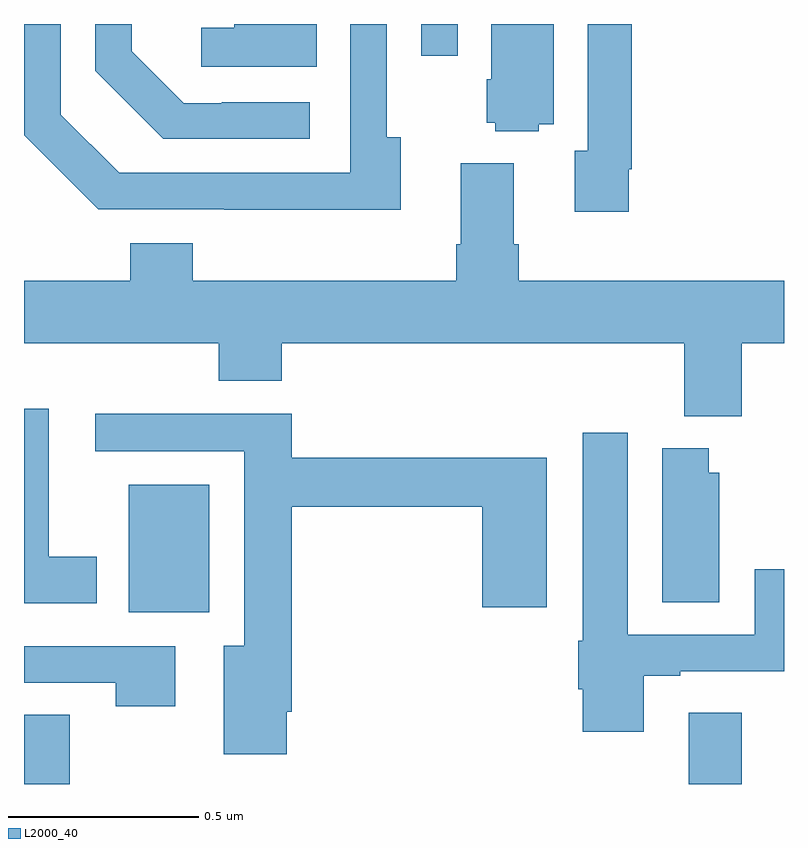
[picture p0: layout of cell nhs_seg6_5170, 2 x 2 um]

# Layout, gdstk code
import gdstk
lib = gdstk.Library(unit=1e-6, precision=1e-09)
def R(c, l, rs):  # rectangles x0, y0, x1, y1
    for r in rs: c.add(gdstk.rectangle(r[:2], r[2:], *l))
def P(c, l, *ps):  # polygons
    for p in ps: c.add(gdstk.Polygon(p, *l))
L2000_40 = (2000, 40)

nhs_seg6_5170 = lib.new_cell('nhs_seg6_5170')
R(nhs_seg6_5170, L2000_40, [(179,955.5,179.121,955.682), (180.749,955.5,180.889,955.687), (179.276,955.952,179.488,956.287), (180.045,957.417,180.141,957.5)])
P(nhs_seg6_5170, L2000_40, [(179.752,957.294),(179.521,957.294),(179.521,957.291),(179.421,957.291),(179.284,957.428),(179.284,957.5),(179.187,957.5),(179.187,957.377),(179.366,957.198),(179.752,957.198)],
  [(179.992,957.202),(179.955,957.202),(179.955,957.5),(179.859,957.5),(179.859,957.108),(179.25,957.108),(179.097,957.261),(179.097,957.5),(179,957.5),(179,957.239),(179.001,957.239),(179.001,957.207),(179.196,957.012),(179.527,957.012),(179.527,957.011),(179.992,957.011)],
  [(180.354,957.236),(180.394,957.236),(180.394,957.5),(180.23,957.5),(180.23,957.354),(180.218,957.354),(180.218,957.24),(180.24,957.24),(180.24,957.218),(180.354,957.218)],
  [(180.592,957.118),(180.599,957.118),(180.599,957.5),(180.483,957.5),(180.483,957.167),(180.449,957.167),(180.449,957.006),(180.592,957.006)],
  [(179.77,957.5),(179.553,957.5),(179.553,957.49),(179.466,957.49),(179.466,957.387),(179.77,957.387)],
  [(180.889,956.66),(181,956.66),(181,956.824),(180.302,956.824),(180.302,956.92),(180.289,956.92),(180.289,957.133),(180.149,957.133),(180.149,956.92),(180.137,956.92),(180.137,956.824),(179.444,956.824),(179.444,956.923),(179.279,956.923),(179.279,956.824),(179,956.824),(179,956.66),(179.513,956.66),(179.513,956.561),(179.678,956.561),(179.678,956.66),(180.737,956.66),(180.737,956.468),(180.889,956.468)],
  [(179.191,956.098),(179.065,956.098),(179.065,956.488),(179,956.488),(179,955.976),(179.191,955.976)],
  [(179.692,955.69),(179.705,955.69),(179.705,956.23),(180.206,956.23),(180.206,955.965),(180.376,955.965),(180.376,956.359),(179.705,956.359),(179.705,956.474),(179.187,956.474),(179.187,956.376),(179.579,956.376),(179.579,955.864),(179.525,955.864),(179.525,955.578),(179.692,955.578)],
  [(180.631,955.785),(180.727,955.785),(180.727,955.797),(181,955.797),(181,956.065),(180.923,956.065),(180.923,955.893),(180.589,955.893),(180.589,956.425),(180.47,956.425),(180.47,955.877),(180.458,955.877),(180.458,955.75),(180.47,955.75),(180.47,955.638),(180.631,955.638)],
  [(180.829,956.319),(180.802,956.319),(180.802,956.383),(180.68,956.383),(180.68,955.978),(180.829,955.978)],
  [(179.398,955.863),(179,955.863),(179,955.767),(179.242,955.767),(179.242,955.704),(179.398,955.704)])

lib.write_gds('nhs_seg6_5170.gds')
